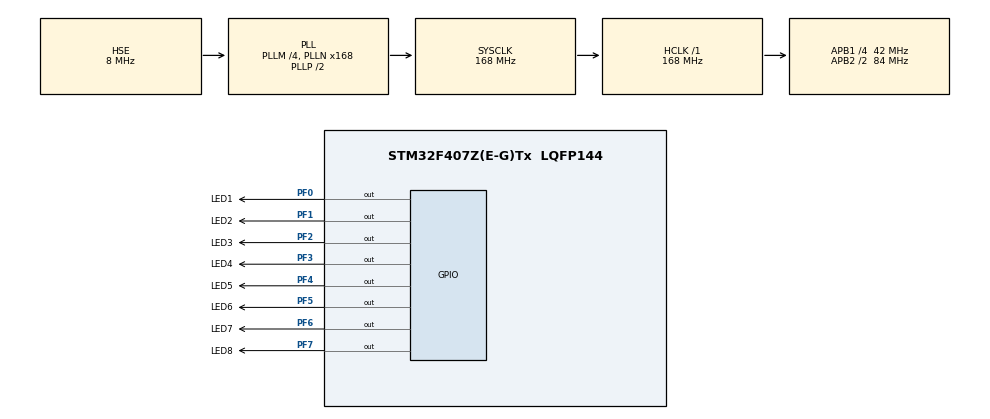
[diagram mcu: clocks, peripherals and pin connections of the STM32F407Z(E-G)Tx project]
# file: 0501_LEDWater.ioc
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Mcu.Family=STM32F4
Mcu.Name=STM32F407Z(E-G)Tx
Mcu.Package=LQFP144
NVIC.PriorityGroup=NVIC_PRIORITYGROUP_4
PA13.Mode=Serial_Wire
PA13.Signal=SYS_JTMS-SWDIO
PA14.Mode=Serial_Wire
PA14.Signal=SYS_JTCK-SWCLK
PF0.GPIO_Label=LED1
PF0.PinState=GPIO_PIN_SET
PF0.Signal=GPIO_Output
PF1.GPIO_Label=LED2
PF1.PinState=GPIO_PIN_SET
PF1.Signal=GPIO_Output
PF2.GPIO_Label=LED3
PF2.PinState=GPIO_PIN_SET
PF2.Signal=GPIO_Output
PF3.GPIO_Label=LED4
PF3.PinState=GPIO_PIN_SET
PF3.Signal=GPIO_Output
PF4.GPIO_Label=LED5
PF4.GPIO_Speed=GPIO_SPEED_FREQ_LOW
PF4.PinState=GPIO_PIN_SET
PF4.Signal=GPIO_Output
PF5.GPIO_Label=LED6
PF5.PinState=GPIO_PIN_SET
PF5.Signal=GPIO_Output
PF6.GPIO_Label=LED7
PF6.PinState=GPIO_PIN_SET
PF6.Signal=GPIO_Output
PF7.GPIO_Label=LED8
PF7.PinState=GPIO_PIN_SET
PF7.Signal=GPIO_Output
PH0-OSC_IN.Mode=HSE-External-Oscillator
PH0-OSC_IN.Signal=RCC_OSC_IN
PH1-OSC_OUT.Mode=HSE-External-Oscillator
PH1-OSC_OUT.Signal=RCC_OSC_OUT
ProjectManager.HeapSize=0x200
ProjectManager.StackSize=0x400
ProjectManager.TargetToolchain=STM32CubeIDE
RCC.48MHZClocksFreq_Value=84000000
RCC.AHBFreq_Value=168000000
RCC.APB1CLKDivider=RCC_HCLK_DIV4
RCC.APB1Freq_Value=42000000
RCC.APB1TimFreq_Value=84000000
RCC.APB2CLKDivider=RCC_HCLK_DIV2
RCC.APB2Freq_Value=84000000
RCC.APB2TimFreq_Value=168000000
RCC.CortexFreq_Value=168000000
RCC.HCLKFreq_Value=168000000
RCC.HSE_VALUE=8000000
RCC.HSI_VALUE=16000000
RCC.LSE_VALUE=32768
RCC.PLLM=4
RCC.PLLN=168
RCC.PLLSourceVirtual=RCC_PLLSOURCE_HSE
RCC.SYSCLKFreq_VALUE=168000000
RCC.SYSCLKSource=RCC_SYSCLKSOURCE_PLLCLK
RCC.VCOOutputFreq_Value=336000000
board=custom

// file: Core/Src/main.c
/* USER CODE BEGIN Header */
/**
  ******************************************************************************
  * @file           : main.c
  * @brief          : Main program body
  ******************************************************************************
  * @attention
  *
  * Copyright (c) 2026 STMicroelectronics.
  * All rights reserved.
  *
  * This software is licensed under terms that can be found in the LICENSE file
  * in the root directory of this software component.
  * If no LICENSE file comes with this software, it is provided AS-IS.
  *
  ******************************************************************************
  */
/* USER CODE END Header */
#include "main.h"
#include "gpio.h"

void SystemClock_Config(void);

/* USER CODE BEGIN 0 */
void delay(uint32_t i)
{
	while(i--);
}
/* USER CODE END 0 */

int main(void)
{

  /* USER CODE BEGIN 1 */
	void delay(uint32_t t)
	{
	    while(t--);
	}

  /* USER CODE END 1 */

  /* MCU Configuration--------------------------------------------------------*/

  /* Reset of all peripherals, Initializes the Flash interface and the Systick. */
  HAL_Init();

  /* Configure the system clock */
  SystemClock_Config();

  /* Initialize all configured peripherals */
  MX_GPIO_Init();

  /* Infinite loop */
  /* USER CODE BEGIN WHILE */
  while (1)
  {
	  GPIOF->ODR = 0xFE;
	  	delay(24000000);
	  	GPIOF->ODR = 0xFD;
	  	delay(24000000);
	  	GPIOF->ODR = 0xFB;
	  	delay(24000000);
	  	GPIOF->ODR = 0xF7;
	  	delay(24000000);
	  	GPIOF->ODR = 0xEF;
	  	delay(24000000);
	  	GPIOF->ODR = 0xDF;
	  	delay(24000000);
	  	GPIOF->ODR = 0xBF;
	  	delay(24000000);
	  	GPIOF->ODR = 0x7F;
	  	delay(24000000);
	  }
    /* USER CODE END WHILE */

  }

void SystemClock_Config(void)
{
  RCC_OscInitTypeDef RCC_OscInitStruct = {0};
  RCC_ClkInitTypeDef RCC_ClkInitStruct = {0};

  /** Configure the main internal regulator output voltage
  */
  __HAL_RCC_PWR_CLK_ENABLE();
  __HAL_PWR_VOLTAGESCALING_CONFIG(PWR_REGULATOR_VOLTAGE_SCALE1);

  /** Initializes the RCC Oscillators according to the specified parameters
  * in the RCC_OscInitTypeDef structure.
  */
  RCC_OscInitStruct.OscillatorType = RCC_OSCILLATORTYPE_HSE;
  RCC_OscInitStruct.HSEState = RCC_HSE_ON;
  RCC_OscInitStruct.PLL.PLLState = RCC_PLL_ON;
  RCC_OscInitStruct.PLL.PLLSource = RCC_PLLSOURCE_HSE;
  RCC_OscInitStruct.PLL.PLLM = 4;
  RCC_OscInitStruct.PLL.PLLN = 168;
  RCC_OscInitStruct.PLL.PLLP = RCC_PLLP_DIV2;
  RCC_OscInitStruct.PLL.PLLQ = 4;
  if (HAL_RCC_OscConfig(&RCC_OscInitStruct) != HAL_OK)
  {
    Error_Handler();
  }

  /** Initializes the CPU, AHB and APB buses clocks
  */
  RCC_ClkInitStruct.ClockType = RCC_CLOCKTYPE_HCLK|RCC_CLOCKTYPE_SYSCLK
                              |RCC_CLOCKTYPE_PCLK1|RCC_CLOCKTYPE_PCLK2;
  RCC_ClkInitStruct.SYSCLKSource = RCC_SYSCLKSOURCE_PLLCLK;
  RCC_ClkInitStruct.AHBCLKDivider = RCC_SYSCLK_DIV1;
  RCC_ClkInitStruct.APB1CLKDivider = RCC_HCLK_DIV4;
  RCC_ClkInitStruct.APB2CLKDivider = RCC_HCLK_DIV2;

  if (HAL_RCC_ClockConfig(&RCC_ClkInitStruct, FLASH_LATENCY_5) != HAL_OK)
  {
    Error_Handler();
  }
}

void Error_Handler(void)
{
  __disable_irq();
  while (1)
  {
  }
}
